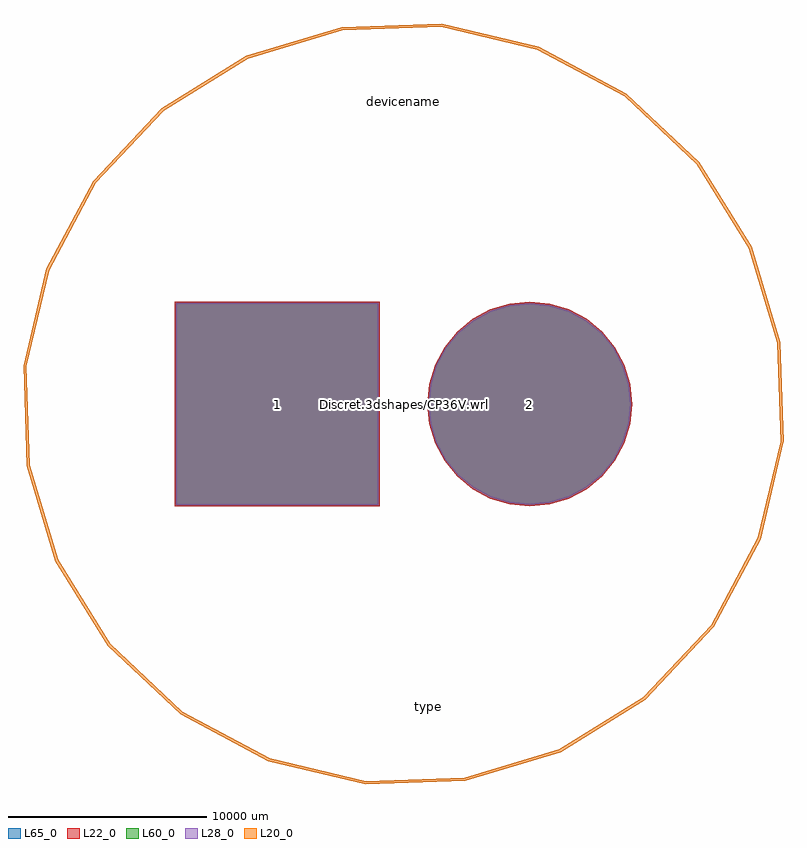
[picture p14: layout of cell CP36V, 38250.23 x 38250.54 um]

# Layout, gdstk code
import gdstk
lib = gdstk.Library(unit=1e-6, precision=1e-09)
def R(c, l, rs):  # rectangles x0, y0, x1, y1
    for r in rs: c.add(gdstk.rectangle(r[:2], r[2:], *l))
def P(c, l, *ps):  # polygons
    for p in ps: c.add(gdstk.Polygon(p, *l))
L20_0 = (20, 0)
L22_0 = (22, 0)
L28_0 = (28, 0)
L60_0 = (60, 0)
L65_0 = (65, 0)

cp36v = lib.new_cell('CP36V')
R(cp36v, L22_0, [(-11505,-5155,-1195,5155)])
P(cp36v, L22_0, [(11505,0),(11405.948,1005.691),(11112.599,1972.733),(10636.226,2863.965),(9995.135,3645.135),(9213.965,4286.226),(8322.733,4762.599),(7355.691,5055.948),(6350,5155),(5344.309,5055.948),(4377.267,4762.599),(3486.035,4286.226),(2704.865,3645.135),(2063.774,2863.965),(1587.401,1972.733),(1294.052,1005.691),(1195,0),(1294.052,-1005.691),(1587.401,-1972.733),(2063.774,-2863.965),(2704.865,-3645.135),(3486.035,-4286.226),(4377.267,-4762.599),(5344.309,-5055.948),(6350,-5155),(7355.691,-5055.948),(8322.733,-4762.599),(9213.965,-4286.226),(9995.135,-3645.135),(10636.226,-2863.965),(11112.599,-1972.733),(11405.948,-1005.691)])
R(cp36v, L28_0, [(-11430,-5080,-1270,5080)])
P(cp36v, L28_0, [(11430,0),(11332.389,991.059),(11043.308,1944.032),(10573.866,2822.297),(9942.102,3592.102),(9172.297,4223.866),(8294.032,4693.308),(7341.059,4982.389),(6350,5080),(5358.941,4982.389),(4405.968,4693.308),(3527.703,4223.866),(2757.898,3592.102),(2126.134,2822.297),(1656.692,1944.032),(1367.611,991.059),(1270,0),(1367.611,-991.059),(1656.692,-1944.032),(2126.134,-2822.297),(2757.898,-3592.102),(3527.703,-4223.866),(4405.968,-4693.308),(5358.941,-4982.389),(6350,-5080),(7341.059,-4982.389),(8294.032,-4693.308),(9172.297,-4223.866),(9942.102,-3592.102),(10573.866,-2822.297),(11043.308,-1944.032),(11332.389,-991.059)])
R(cp36v, L60_0, [(-11430,-5080,-1270,5080)])
P(cp36v, L60_0, [(11430,0),(11332.389,991.059),(11043.308,1944.032),(10573.866,2822.297),(9942.102,3592.102),(9172.297,4223.866),(8294.032,4693.308),(7341.059,4982.389),(6350,5080),(5358.941,4982.389),(4405.968,4693.308),(3527.703,4223.866),(2757.898,3592.102),(2126.134,2822.297),(1656.692,1944.032),(1367.611,991.059),(1270,0),(1367.611,-991.059),(1656.692,-1944.032),(2126.134,-2822.297),(2757.898,-3592.102),(3527.703,-4223.866),(4405.968,-4693.308),(5358.941,-4982.389),(6350,-5080),(7341.059,-4982.389),(8294.032,-4693.308),(9172.297,-4223.866),(9942.102,-3592.102),(10573.866,-2822.297),(11043.308,-1944.032),(11332.389,-991.059)])
R(cp36v, L65_0, [(-11505,-5155,-1195,5155)])
P(cp36v, L65_0, [(11505,0),(11405.948,1005.691),(11112.599,1972.733),(10636.226,2863.965),(9995.135,3645.135),(9213.965,4286.226),(8322.733,4762.599),(7355.691,5055.948),(6350,5155),(5344.309,5055.948),(4377.267,4762.599),(3486.035,4286.226),(2704.865,3645.135),(2063.774,2863.965),(1587.401,1972.733),(1294.052,1005.691),(1195,0),(1294.052,-1005.691),(1587.401,-1972.733),(2063.774,-2863.965),(2704.865,-3645.135),(3486.035,-4286.226),(4377.267,-4762.599),(5344.309,-5055.948),(6350,-5155),(7355.691,-5055.948),(8322.733,-4762.599),(9213.965,-4286.226),(9995.135,-3645.135),(10636.226,-2863.965),(11112.599,-1972.733),(11405.948,-1005.691)])
cp36v.add(gdstk.FlexPath([(19050,-1905),(18893.937,3090.414),(17450.284,7875.222),(14817.423,12123.346),(11174.778,15545.284),(6770.592,17907.837),(1905,19050),(-3090.414,18893.937),(-7875.222,17450.284),(-12123.346,14817.423),(-15545.284,11174.778),(-17907.837,6770.592),(-19050,1905),(-18893.937,-3090.414),(-17450.284,-7875.222),(-14817.423,-12123.346),(-11174.778,-15545.284),(-6770.592,-17907.837),(-1905,-19050),(3090.414,-18893.937),(7875.222,-17450.284),(12123.346,-14817.423),(15545.284,-11174.778),(17907.837,-6770.592),(19050,-1905)], 149.998, ends="flush", simple_path=True, layer=20, datatype=0))  # L20_0
cp36v.add(gdstk.Label('Discret.3dshapes/CP36V.wrl', (0,0), layer=12, texttype=0))
cp36v.add(gdstk.Label('1', (-6350,0), layer=28, texttype=0))
cp36v.add(gdstk.Label('2', (6350,0), layer=28, texttype=0))
cp36v.add(gdstk.Label('type', (1270,-15240), layer=9, texttype=0))
cp36v.add(gdstk.Label('devicename', (0,15240), layer=9, texttype=0))

lib.write_gds('CP36V.gds')
